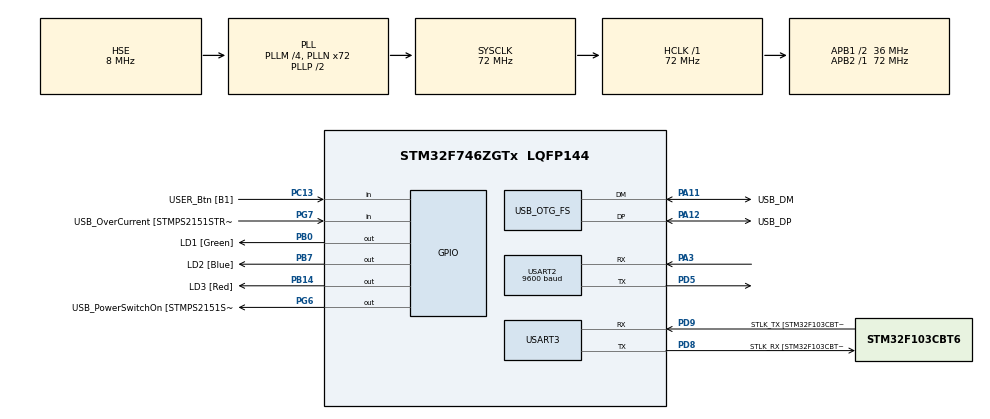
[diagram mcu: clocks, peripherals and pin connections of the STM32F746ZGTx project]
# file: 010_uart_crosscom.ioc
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Mcu.Family=STM32F7
Mcu.Name=STM32F746ZGTx
Mcu.Package=LQFP144
NVIC.PriorityGroup=NVIC_PRIORITYGROUP_4
PA1.GPIO_Label=RMII_REF_CLK [LAN8742A-CZ-TR_REFCLK0]
PA1.Signal=ETH_REF_CLK
PA10.GPIO_Label=USB_ID
PA10.Signal=USB_OTG_FS_ID
PA11.GPIO_Label=USB_DM
PA11.Mode=Device_Only
PA11.Signal=USB_OTG_FS_DM
PA12.GPIO_Label=USB_DP
PA12.Mode=Device_Only
PA12.Signal=USB_OTG_FS_DP
PA13.GPIO_Label=TMS
PA13.Mode=Serial_Wire
PA13.Signal=SYS_JTMS-SWDIO
PA14.GPIO_Label=TCK
PA14.Mode=Serial_Wire
PA14.Signal=SYS_JTCK-SWCLK
PA2.GPIO_Label=RMII_MDIO [LAN8742A-CZ-TR_MDIO]
PA2.Signal=ETH_MDIO
PA3.Mode=Asynchronous
PA3.Signal=USART2_RX
PA7.GPIO_Label=RMII_CRS_DV [LAN8742A-CZ-TR_CRS_DV]
PA7.Signal=ETH_CRS_DV
PA8.GPIO_Label=USB_SOF [TP1]
PA8.Signal=USB_OTG_FS_SOF
PA9.GPIO_Label=USB_VBUS
PA9.Signal=USB_OTG_FS_VBUS
PB0.GPIO_Label=LD1 [Green]
PB0.Signal=GPIO_Output
PB13.GPIO_Label=RMII_TXD1 [LAN8742A-CZ-TR_TXD1]
PB13.Signal=ETH_TXD1
PB14.GPIO_Label=LD3 [Red]
PB14.Signal=GPIO_Output
PB3.GPIO_Label=SW0
PB3.Signal=SYS_JTDO-SWO
PB7.GPIO_Label=LD2 [Blue]
PB7.Signal=GPIO_Output
PC1.GPIO_Label=RMII_MDC [LAN8742A-CZ-TR_MDC]
PC1.Signal=ETH_MDC
PC13.GPIO_Label=USER_Btn [B1]
PC13.Signal=GPIO_Input
PC14/OSC32_IN.Mode=LSE-External-Oscillator
PC14/OSC32_IN.Signal=RCC_OSC32_IN
PC15/OSC32_OUT.Mode=LSE-External-Oscillator
PC15/OSC32_OUT.Signal=RCC_OSC32_OUT
PC4.GPIO_Label=RMII_RXD0 [LAN8742A-CZ-TR_RXD0]
PC4.Signal=ETH_RXD0
PC5.GPIO_Label=RMII_RXD1 [LAN8742A-CZ-TR_RXD1]
PC5.Signal=ETH_RXD1
PD5.Mode=Asynchronous
PD5.Signal=USART2_TX
PD8.GPIO_Label=STLK_RX [STM32F103CBT6_PA3]
PD8.Mode=Asynchronous
PD8.Signal=USART3_TX
PD9.GPIO_Label=STLK_TX [STM32F103CBT6_PA2]
PD9.Mode=Asynchronous
PD9.Signal=USART3_RX
PG11.GPIO_Label=RMII_TX_EN [LAN8742A-CZ-TR_TXEN]
PG11.Signal=ETH_TX_EN
PG13.GPIO_Label=RMII_TXD0 [LAN8742A-CZ-TR_TXD0]
PG13.Signal=ETH_TXD0
PG6.GPIO_Label=USB_PowerSwitchOn [STMPS2151STR_EN]
PG6.Signal=GPIO_Output
PG7.GPIO_Label=USB_OverCurrent [STMPS2151STR_FAULT]
PG7.Signal=GPIO_Input
PH0/OSC_IN.GPIO_Label=MCO [STM32F103CBT6_PA8]
PH0/OSC_IN.Mode=HSE-External-Clock-Source
PH0/OSC_IN.Signal=RCC_OSC_IN
PH1/OSC_OUT.Mode=HSE-External-Clock-Source
PH1/OSC_OUT.Signal=RCC_OSC_OUT
ProjectManager.HeapSize=0x200
ProjectManager.StackSize=0x400
ProjectManager.TargetToolchain=STM32CubeIDE
RCC.48MHZClocksFreq_Value=24000000
RCC.AHBFreq_Value=72000000
RCC.APB1CLKDivider=RCC_HCLK_DIV2
RCC.APB1Freq_Value=36000000
RCC.APB1TimFreq_Value=72000000
RCC.APB2Freq_Value=72000000
RCC.APB2TimFreq_Value=72000000
RCC.CortexFreq_Value=72000000
RCC.HCLKFreq_Value=72000000
RCC.HSE_VALUE=8000000
RCC.HSI_VALUE=16000000
RCC.PLLM=4
RCC.PLLMUL=RCC_PLL_MUL9
RCC.PLLN=72
RCC.PLLQ=3
RCC.PRESCALERUSB=RCC_USBCLKSOURCE_PLL_DIV1_5
RCC.SYSCLKFreq_VALUE=72000000
RCC.SYSCLKSource=RCC_SYSCLKSOURCE_PLLCLK
RCC.SYSCLKSourceVirtual=RCC_SYSCLKSOURCE_PLLCLK
RCC.USBFreq_Value=48000000
RCC.VCOOutputFreq_Value=144000000
USART2.BaudRate=9600
USART2.VirtualMode-Asynchronous=VM_ASYNC
USART3.VirtualMode-Asynchronous=VM_ASYNC
USB_OTG_FS.VirtualMode=Device_Only
board=NUCLEO-F746ZG

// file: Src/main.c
/* USER CODE BEGIN Header */
/**
  ******************************************************************************
  * @file           : main.c
  * @brief          : Main program body
  ******************************************************************************
  * @attention
  *
  * <h2><center>&copy; Copyright (c) 2020 STMicroelectronics.
  * All rights reserved.</center></h2>
  *
  * This software component is licensed by ST under BSD 3-Clause license,
  * the "License"; You may not use this file except in compliance with the
  * License. You may obtain a copy of the License at:
  *                        opensource.org/licenses/BSD-3-Clause
  *
  ******************************************************************************
  */
/* USER CODE END Header */
#include "main.h"

UART_HandleTypeDef huart2;
UART_HandleTypeDef huart3;

PCD_HandleTypeDef hpcd_USB_OTG_FS;

void SystemClock_Config(void);
static void MX_GPIO_Init(void);
static void MX_USART2_UART_Init(void);
static void MX_USART3_UART_Init(void);
static void MX_USB_OTG_FS_PCD_Init(void);

int main(void)
{

  /* MCU Configuration--------------------------------------------------------*/

  /* Reset of all peripherals, Initializes the Flash interface and the Systick. */
  HAL_Init();

  /* Configure the system clock */
  SystemClock_Config();

  /* Initialize all configured peripherals */
  MX_GPIO_Init();
  MX_USART2_UART_Init();
  MX_USART3_UART_Init();
  MX_USB_OTG_FS_PCD_Init();

  /* Infinite loop */
  /* USER CODE BEGIN WHILE */
  GPIO_PinState state = HAL_GPIO_ReadPin(GPIOC, GPIO_PIN_13);
  unsigned int sync_count = 100; // how often to send a sync data frame
  while (1)
  {
    /* USER CODE END WHILE */

    /* USER CODE BEGIN 3 */
    unsigned char buffer[2];
    GPIO_PinState new_state = HAL_GPIO_ReadPin(GPIOC, GPIO_PIN_13);
    if ( state!=new_state || sync_count==0 ) { // send new data only if data changed or if time for sync data frame
      state=new_state;
      sync_count = 100;
      if (state) {
        buffer[0]='1';
      } else {
        buffer[0]='0';
      }
      HAL_UART_Transmit(&huart2, (void*)buffer, 1, 5);
    } else {
      if (sync_count>0) {
        sync_count--;
      }
    }

    HAL_StatusTypeDef status = HAL_UART_Receive(&huart2, buffer, 1, 0);
    // Note: timeout of 0ms means that either a byte is already received and waiting or timeout is returned
    if ( HAL_OK == status ) {
      if (buffer[0]=='0') {
        HAL_GPIO_WritePin(GPIOB, GPIO_PIN_0, GPIO_PIN_RESET);
      } else if (buffer[0]=='1') {
        HAL_GPIO_WritePin(GPIOB, GPIO_PIN_0, GPIO_PIN_SET);
      } else{
        // nothing - unrecognized command
      }
    }

    HAL_Delay(10);

  }
  /* USER CODE END 3 */
}

void SystemClock_Config(void)
{
  RCC_OscInitTypeDef RCC_OscInitStruct = {0};
  RCC_ClkInitTypeDef RCC_ClkInitStruct = {0};

  /** Configure LSE Drive Capability
  */
  HAL_PWR_EnableBkUpAccess();
  /** Configure the main internal regulator output voltage
  */
  __HAL_RCC_PWR_CLK_ENABLE();
  __HAL_PWR_VOLTAGESCALING_CONFIG(PWR_REGULATOR_VOLTAGE_SCALE3);
  /** Initializes the RCC Oscillators according to the specified parameters
  * in the RCC_OscInitTypeDef structure.
  */
  RCC_OscInitStruct.OscillatorType = RCC_OSCILLATORTYPE_HSE;
  RCC_OscInitStruct.HSEState = RCC_HSE_BYPASS;
  RCC_OscInitStruct.PLL.PLLState = RCC_PLL_ON;
  RCC_OscInitStruct.PLL.PLLSource = RCC_PLLSOURCE_HSE;
  RCC_OscInitStruct.PLL.PLLM = 4;
  RCC_OscInitStruct.PLL.PLLN = 72;
  RCC_OscInitStruct.PLL.PLLP = RCC_PLLP_DIV2;
  RCC_OscInitStruct.PLL.PLLQ = 3;
  if (HAL_RCC_OscConfig(&RCC_OscInitStruct) != HAL_OK)
  {
    Error_Handler();
  }
  /** Initializes the CPU, AHB and APB buses clocks
  */
  RCC_ClkInitStruct.ClockType = RCC_CLOCKTYPE_HCLK|RCC_CLOCKTYPE_SYSCLK
                              |RCC_CLOCKTYPE_PCLK1|RCC_CLOCKTYPE_PCLK2;
  RCC_ClkInitStruct.SYSCLKSource = RCC_SYSCLKSOURCE_PLLCLK;
  RCC_ClkInitStruct.AHBCLKDivider = RCC_SYSCLK_DIV1;
  RCC_ClkInitStruct.APB1CLKDivider = RCC_HCLK_DIV2;
  RCC_ClkInitStruct.APB2CLKDivider = RCC_HCLK_DIV1;

  if (HAL_RCC_ClockConfig(&RCC_ClkInitStruct, FLASH_LATENCY_2) != HAL_OK)
  {
    Error_Handler();
  }
}

static void MX_USART2_UART_Init(void)
{

  huart2.Instance = USART2;
  huart2.Init.BaudRate = 9600;
  huart2.Init.WordLength = UART_WORDLENGTH_8B;
  huart2.Init.StopBits = UART_STOPBITS_1;
  huart2.Init.Parity = UART_PARITY_NONE;
  huart2.Init.Mode = UART_MODE_TX_RX;
  huart2.Init.HwFlowCtl = UART_HWCONTROL_NONE;
  huart2.Init.OverSampling = UART_OVERSAMPLING_16;
  huart2.Init.OneBitSampling = UART_ONE_BIT_SAMPLE_DISABLE;
  huart2.AdvancedInit.AdvFeatureInit = UART_ADVFEATURE_NO_INIT;
  if (HAL_UART_Init(&huart2) != HAL_OK)
  {
    Error_Handler();
  }

}

static void MX_USART3_UART_Init(void)
{

  huart3.Instance = USART3;
  huart3.Init.BaudRate = 115200;
  huart3.Init.WordLength = UART_WORDLENGTH_8B;
  huart3.Init.StopBits = UART_STOPBITS_1;
  huart3.Init.Parity = UART_PARITY_NONE;
  huart3.Init.Mode = UART_MODE_TX_RX;
  huart3.Init.HwFlowCtl = UART_HWCONTROL_NONE;
  huart3.Init.OverSampling = UART_OVERSAMPLING_16;
  huart3.Init.OneBitSampling = UART_ONE_BIT_SAMPLE_DISABLE;
  huart3.AdvancedInit.AdvFeatureInit = UART_ADVFEATURE_NO_INIT;
  if (HAL_UART_Init(&huart3) != HAL_OK)
  {
    Error_Handler();
  }

}

static void MX_USB_OTG_FS_PCD_Init(void)
{

  hpcd_USB_OTG_FS.Instance = USB_OTG_FS;
  hpcd_USB_OTG_FS.Init.dev_endpoints = 6;
  hpcd_USB_OTG_FS.Init.speed = PCD_SPEED_FULL;
  hpcd_USB_OTG_FS.Init.dma_enable = DISABLE;
  hpcd_USB_OTG_FS.Init.phy_itface = PCD_PHY_EMBEDDED;
  hpcd_USB_OTG_FS.Init.Sof_enable = DISABLE;
  hpcd_USB_OTG_FS.Init.low_power_enable = DISABLE;
  hpcd_USB_OTG_FS.Init.lpm_enable = DISABLE;
  hpcd_USB_OTG_FS.Init.vbus_sensing_enable = DISABLE;
  hpcd_USB_OTG_FS.Init.use_dedicated_ep1 = DISABLE;
  if (HAL_PCD_Init(&hpcd_USB_OTG_FS) != HAL_OK)
  {
    Error_Handler();
  }

}

static void MX_GPIO_Init(void)
{
  GPIO_InitTypeDef GPIO_InitStruct = {0};

  /* GPIO Ports Clock Enable */
  __HAL_RCC_GPIOC_CLK_ENABLE();
  __HAL_RCC_GPIOH_CLK_ENABLE();
  __HAL_RCC_GPIOA_CLK_ENABLE();
  __HAL_RCC_GPIOB_CLK_ENABLE();
  __HAL_RCC_GPIOD_CLK_ENABLE();
  __HAL_RCC_GPIOG_CLK_ENABLE();

  /*Configure GPIO pin Output Level */
  HAL_GPIO_WritePin(GPIOB, LD1_Pin|LD3_Pin|LD2_Pin, GPIO_PIN_RESET);

  /*Configure GPIO pin Output Level */
  HAL_GPIO_WritePin(USB_PowerSwitchOn_GPIO_Port, USB_PowerSwitchOn_Pin, GPIO_PIN_RESET);

  /*Configure GPIO pin : USER_Btn_Pin */
  GPIO_InitStruct.Pin = USER_Btn_Pin;
  GPIO_InitStruct.Mode = GPIO_MODE_INPUT;
  GPIO_InitStruct.Pull = GPIO_NOPULL;
  HAL_GPIO_Init(USER_Btn_GPIO_Port, &GPIO_InitStruct);

  /*Configure GPIO pins : RMII_MDC_Pin RMII_RXD0_Pin RMII_RXD1_Pin */
  GPIO_InitStruct.Pin = RMII_MDC_Pin|RMII_RXD0_Pin|RMII_RXD1_Pin;
  GPIO_InitStruct.Mode = GPIO_MODE_AF_PP;
  GPIO_InitStruct.Pull = GPIO_NOPULL;
  GPIO_InitStruct.Speed = GPIO_SPEED_FREQ_VERY_HIGH;
  GPIO_InitStruct.Alternate = GPIO_AF11_ETH;
  HAL_GPIO_Init(GPIOC, &GPIO_InitStruct);

  /*Configure GPIO pins : RMII_REF_CLK_Pin RMII_MDIO_Pin RMII_CRS_DV_Pin */
  GPIO_InitStruct.Pin = RMII_REF_CLK_Pin|RMII_MDIO_Pin|RMII_CRS_DV_Pin;
  GPIO_InitStruct.Mode = GPIO_MODE_AF_PP;
  GPIO_InitStruct.Pull = GPIO_NOPULL;
  GPIO_InitStruct.Speed = GPIO_SPEED_FREQ_VERY_HIGH;
  GPIO_InitStruct.Alternate = GPIO_AF11_ETH;
  HAL_GPIO_Init(GPIOA, &GPIO_InitStruct);

  /*Configure GPIO pins : LD1_Pin LD3_Pin LD2_Pin */
  GPIO_InitStruct.Pin = LD1_Pin|LD3_Pin|LD2_Pin;
  GPIO_InitStruct.Mode = GPIO_MODE_OUTPUT_PP;
  GPIO_InitStruct.Pull = GPIO_NOPULL;
  GPIO_InitStruct.Speed = GPIO_SPEED_FREQ_LOW;
  HAL_GPIO_Init(GPIOB, &GPIO_InitStruct);

  /*Configure GPIO pin : RMII_TXD1_Pin */
  GPIO_InitStruct.Pin = RMII_TXD1_Pin;
  GPIO_InitStruct.Mode = GPIO_MODE_AF_PP;
  GPIO_InitStruct.Pull = GPIO_NOPULL;
  GPIO_InitStruct.Speed = GPIO_SPEED_FREQ_VERY_HIGH;
  GPIO_InitStruct.Alternate = GPIO_AF11_ETH;
  HAL_GPIO_Init(RMII_TXD1_GPIO_Port, &GPIO_InitStruct);

  /*Configure GPIO pin : USB_PowerSwitchOn_Pin */
  GPIO_InitStruct.Pin = USB_PowerSwitchOn_Pin;
  GPIO_InitStruct.Mode = GPIO_MODE_OUTPUT_PP;
  GPIO_InitStruct.Pull = GPIO_NOPULL;
  GPIO_InitStruct.Speed = GPIO_SPEED_FREQ_LOW;
  HAL_GPIO_Init(USB_PowerSwitchOn_GPIO_Port, &GPIO_InitStruct);

  /*Configure GPIO pin : USB_OverCurrent_Pin */
  GPIO_InitStruct.Pin = USB_OverCurrent_Pin;
  GPIO_InitStruct.Mode = GPIO_MODE_INPUT;
  GPIO_InitStruct.Pull = GPIO_NOPULL;
  HAL_GPIO_Init(USB_OverCurrent_GPIO_Port, &GPIO_InitStruct);

  /*Configure GPIO pins : RMII_TX_EN_Pin RMII_TXD0_Pin */
  GPIO_InitStruct.Pin = RMII_TX_EN_Pin|RMII_TXD0_Pin;
  GPIO_InitStruct.Mode = GPIO_MODE_AF_PP;
  GPIO_InitStruct.Pull = GPIO_NOPULL;
  GPIO_InitStruct.Speed = GPIO_SPEED_FREQ_VERY_HIGH;
  GPIO_InitStruct.Alternate = GPIO_AF11_ETH;
  HAL_GPIO_Init(GPIOG, &GPIO_InitStruct);

}

void Error_Handler(void)
{
}
